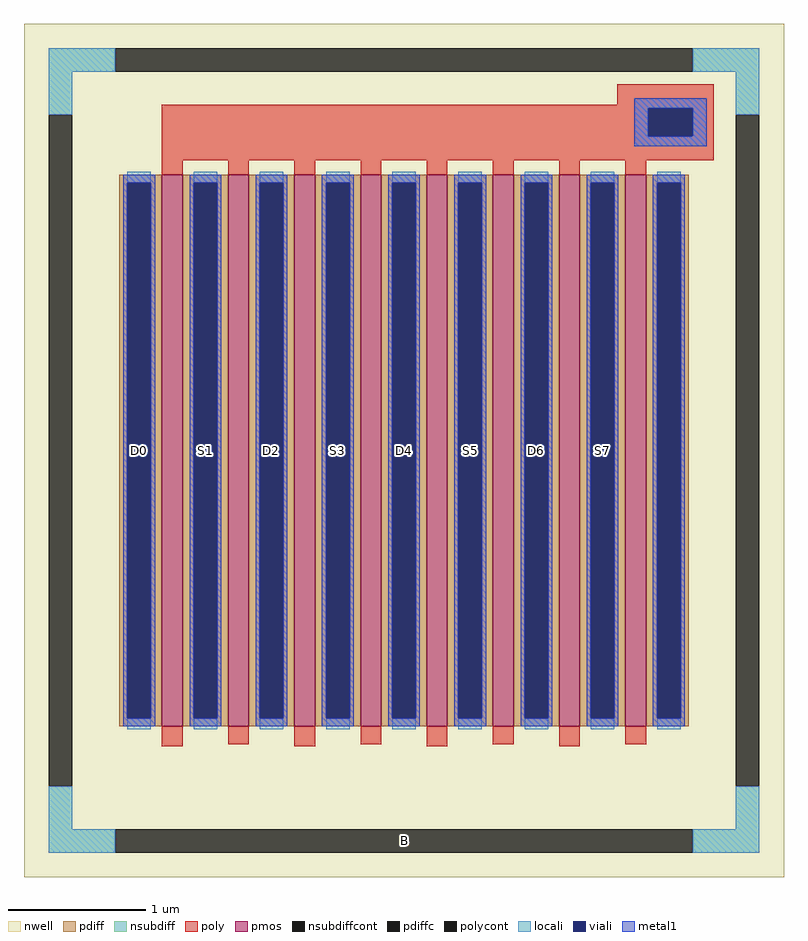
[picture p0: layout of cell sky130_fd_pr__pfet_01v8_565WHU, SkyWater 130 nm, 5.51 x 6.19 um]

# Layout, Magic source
magic
tech sky130A
magscale 1 2
<< nwell >>
rect -551 -619 551 619
<< pmos >>
rect -351 -400 -321 400
rect -255 -400 -225 400
rect -159 -400 -129 400
rect -63 -400 -33 400
rect 33 -400 63 400
rect 129 -400 159 400
rect 225 -400 255 400
rect 321 -400 351 400
<< pdiff >>
rect -413 388 -351 400
rect -413 -388 -401 388
rect -367 -388 -351 388
rect -413 -400 -351 -388
rect -321 388 -255 400
rect -321 -388 -305 388
rect -271 -388 -255 388
rect -321 -400 -255 -388
rect -225 388 -159 400
rect -225 -388 -209 388
rect -175 -388 -159 388
rect -225 -400 -159 -388
rect -129 388 -63 400
rect -129 -388 -113 388
rect -79 -388 -63 388
rect -129 -400 -63 -388
rect -33 388 33 400
rect -33 -388 -17 388
rect 17 -388 33 388
rect -33 -400 33 -388
rect 63 388 129 400
rect 63 -388 79 388
rect 113 -388 129 388
rect 63 -400 129 -388
rect 159 388 225 400
rect 159 -388 175 388
rect 209 -388 225 388
rect 159 -400 225 -388
rect 255 388 321 400
rect 255 -388 271 388
rect 305 -388 321 388
rect 255 -400 321 -388
rect 351 388 413 400
rect 351 -388 367 388
rect 401 -388 413 388
rect 351 -400 413 -388
<< pdiffc >>
rect -401 -388 -367 388
rect -305 -388 -271 388
rect -209 -388 -175 388
rect -113 -388 -79 388
rect -17 -388 17 388
rect 79 -388 113 388
rect 175 -388 209 388
rect 271 -388 305 388
rect 367 -388 401 388
<< nsubdiff >>
rect -515 549 -419 583
rect 419 549 515 583
rect -515 487 -481 549
rect 481 487 515 549
rect -515 -549 -481 -487
rect 481 -549 515 -487
rect -515 -583 -419 -549
rect 419 -583 515 -549
<< nsubdiffcont >>
rect -419 549 419 583
rect -515 -487 -481 487
rect 481 -487 515 487
rect -419 -583 419 -549
<< poly >>
rect 309 501 449 531
rect -351 496 449 501
rect -351 456 354 496
rect 419 456 449 496
rect -351 421 449 456
rect -351 400 -321 421
rect -255 400 -225 421
rect -159 400 -129 421
rect -63 400 -33 421
rect 33 400 63 421
rect 129 400 159 421
rect 225 400 255 421
rect 321 400 351 421
rect -351 -429 -321 -400
rect -255 -426 -225 -400
rect -159 -429 -129 -400
rect -63 -426 -33 -400
rect 33 -429 63 -400
rect 129 -426 159 -400
rect 225 -429 255 -400
rect 321 -426 351 -400
<< polycont >>
rect 354 456 419 496
<< locali >>
rect -515 549 -419 583
rect 419 549 515 583
rect -515 487 -481 549
rect 334 496 439 511
rect 334 456 354 496
rect 419 456 439 496
rect 334 441 439 456
rect 481 487 515 549
rect -401 388 -367 404
rect -401 -404 -367 -388
rect -305 388 -271 404
rect -305 -404 -271 -388
rect -209 388 -175 404
rect -209 -404 -175 -388
rect -113 388 -79 404
rect -113 -404 -79 -388
rect -17 388 17 404
rect -17 -404 17 -388
rect 79 388 113 404
rect 79 -404 113 -388
rect 175 388 209 404
rect 175 -404 209 -388
rect 271 388 305 404
rect 271 -404 305 -388
rect 367 388 401 404
rect 367 -404 401 -388
rect -515 -549 -481 -487
rect 481 -549 515 -487
rect -515 -583 -419 -549
rect 419 -583 515 -549
<< viali >>
rect 354 456 419 496
rect -401 -388 -367 388
rect -305 -388 -271 388
rect -209 -388 -175 388
rect -113 -388 -79 388
rect -17 -388 17 388
rect 79 -388 113 388
rect 175 -388 209 388
rect 271 -388 305 388
rect 367 -388 401 388
<< metal1 >>
rect 334 496 439 511
rect 334 456 354 496
rect 419 456 439 496
rect 334 441 439 456
rect -407 388 -361 400
rect -407 -388 -401 388
rect -367 -388 -361 388
rect -407 -400 -361 -388
rect -311 388 -265 400
rect -311 -388 -305 388
rect -271 -388 -265 388
rect -311 -400 -265 -388
rect -215 388 -169 400
rect -215 -388 -209 388
rect -175 -388 -169 388
rect -215 -400 -169 -388
rect -119 388 -73 400
rect -119 -388 -113 388
rect -79 -388 -73 388
rect -119 -400 -73 -388
rect -23 388 23 400
rect -23 -388 -17 388
rect 17 -388 23 388
rect -23 -400 23 -388
rect 73 388 119 400
rect 73 -388 79 388
rect 113 -388 119 388
rect 73 -400 119 -388
rect 169 388 215 400
rect 169 -388 175 388
rect 209 -388 215 388
rect 169 -400 215 -388
rect 265 388 311 400
rect 265 -388 271 388
rect 305 -388 311 388
rect 265 -400 311 -388
rect 361 388 407 400
rect 361 -388 367 388
rect 401 -388 407 388
rect 361 -400 407 -388
<< labels >>
rlabel nsubdiffcont 0 -566 0 -566 0 B
port 1 nsew
rlabel pdiffc -384 0 -384 0 0 D0
port 2 nsew
rlabel pdiffc -288 0 -288 0 0 S1
port 4 nsew
rlabel pdiffc -192 0 -192 0 0 D2
port 6 nsew
rlabel pdiffc -96 0 -96 0 0 S3
port 8 nsew
rlabel pdiffc 0 0 0 0 0 D4
port 10 nsew
rlabel pdiffc 96 0 96 0 0 S5
port 12 nsew
rlabel pdiffc 192 0 192 0 0 D6
port 14 nsew
rlabel pdiffc 288 0 288 0 0 S7
port 16 nsew
<< properties >>
string FIXED_BBOX -498 -566 498 566
string gencell sky130_fd_pr__pfet_01v8
string library sky130
string parameters w 4.0 l 0.15 m 1 nf 8 diffcov 100 polycov 100 guard 1 glc 1 grc 1 gtc 1 gbc 1 tbcov 100 rlcov 100 topc 1 botc 1 poverlap 0 doverlap 1 lmin 0.15 wmin 0.42 class mosfet compatible {sky130_fd_pr__pfet_01v8  sky130_fd_pr__pfet_01v8_lvt sky130_fd_pr__pfet_01v8_hvt  sky130_fd_pr__pfet_g5v0d10v5} full_metal 1 conn_gates 0 viasrc 100 viadrn 100 viagate 100 viagb 0 viagr 0 viagl 0 viagt 0 doports 1
<< end >>
